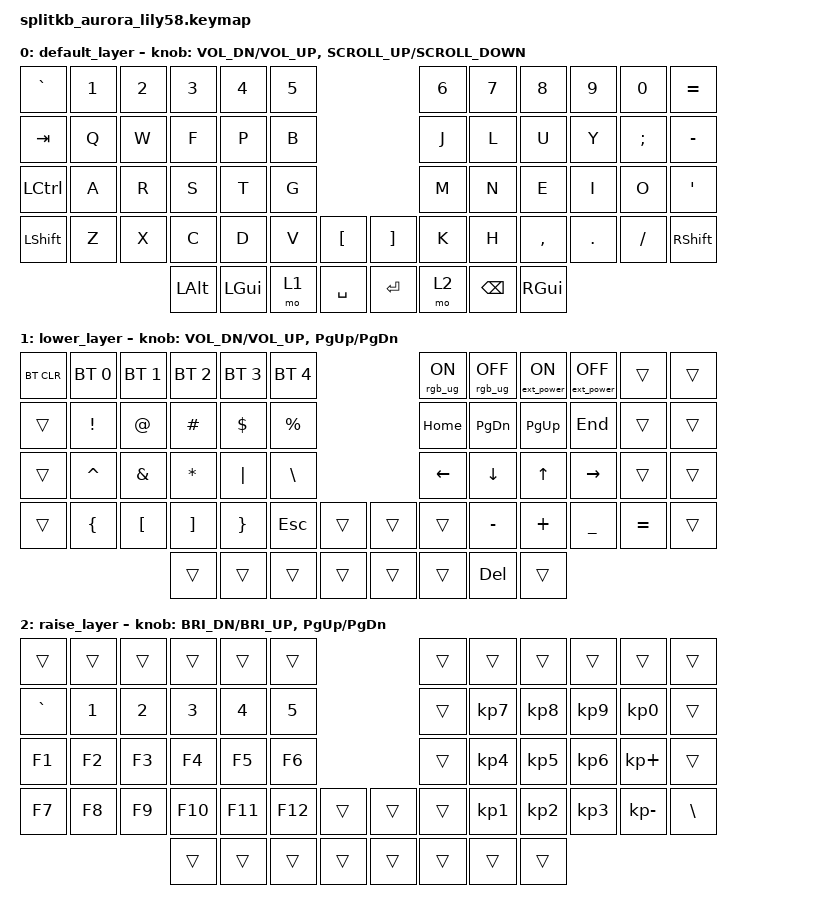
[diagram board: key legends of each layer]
/* * Copyright (c) 2022 The ZMK Contributors
 *
 * SPDX-License-Identifier: MIT
 */

#include <behaviors.dtsi>
#include <dt-bindings/zmk/keys.h>
#include <dt-bindings/zmk/bt.h>
#include <dt-bindings/zmk/ext_power.h>
#include <dt-bindings/zmk/rgb.h>

#include <dt-bindings/led/led.h>

&led_strip {
    chain-length = <66>;
};

&left_encoder { resolution = <1>; };
&right_encoder { resolution = <1>; };

/ {
    keymap {
        compatible = "zmk,keymap";

        default_layer {
// ------------------------------------------------------------------------------------------------------------
// |   `   |  1  |  2  |  3   |  4   |  5   |                   |  6   |  7    |  8    |  9   |   0   |   =   |
// |  TAB  |  Q  |  W  |  F   |  P   |  B   |                   |  J   |  L    |  U    |  Y   |   ;   |   -   |
// |  CTRL |  A  |  R  |  S   |  T   |  G   |                   |  M   |  N    |  E    |  I   |   O   |   '   |
// | SHIFT |  Z  |  X  |  C   |  D   |  V   |   "["  |  |  "]"  |  K   |  H    |  ,    |  .   |   /   | SHIFT |
//                     | LALT | GUI  | LOWER|  SPACE |  | ENTER | RAISE| BSCP  | GUI   |
            bindings = <
&kp GRAVE &kp N1 &kp N2 &kp N3    &kp N4   &kp N5                      &kp N6 &kp N7   &kp N8    &kp N9  &kp N0   &kp EQUAL
&kp TAB   &kp Q  &kp W  &kp F     &kp P    &kp B                       &kp J  &kp L    &kp U     &kp Y   &kp SEMI &kp MINUS
&kp LCTRL &kp A  &kp R  &kp S     &kp T    &kp G                       &kp M  &kp N    &kp E     &kp I   &kp O    &kp SQT
&kp LSHFT &kp Z  &kp X  &kp C     &kp D    &kp V  &kp LBKT   &kp RBKT  &kp K  &kp H    &kp COMMA &kp DOT &kp FSLH &kp RSHFT
                        &kp LALT &kp LGUI &mo 1  &kp SPACE  &kp RET  &mo 2  &kp BSPC &kp RGUI
            >;

            sensor-bindings = <&inc_dec_kp C_VOL_DN C_VOL_UP &inc_dec_kp K_SCROLL_UP K_SCROLL_DOWN>;
        };

        lower_layer {
// ------------------------------------------------------------------------------------------------------------
// | BTCLR | BT1 | BT2 |  BT3 |  BT4 |  BT5 |                   | RGBON| RGBOFF|       |      |       |       |
// |       |  !  |  @  |   #  |  $   |   %  |                   | HOME |  PGUP | PGDN  | END  |       |       |
// |       |  ^  |  &  |   *  | "|"  |   \  |                   |  <-  |  v    |  ^    |  ->  |       |       |
// |       |  {  |  [   |  ]  |   }  |  ESC |        |  |       |      |  -    |  +    |  _   |   =   |       |
//                     |      |      |      |        |  |       |      |  DEL  |       |
            bindings = <
&bt BT_CLR &bt BT_SEL 0     &bt BT_SEL 1      &bt BT_SEL 2      &bt BT_SEL 3 &bt BT_SEL 4                 &rgb_ug RGB_ON    &rgb_ug RGB_OFF &ext_power EXT_POWER_ON_CMD    &ext_power EXT_POWER_OFF_CMD    &trans    &trans
&trans     &kp EXCL         &kp AT            &kp HASH          &kp DOLLAR   &kp PERCENT                  &kp HOME  &kp PG_DN &kp PG_UP     &kp END   &trans     &trans
&trans     &kp CARET        &kp AMPS          &kp STAR          &kp PIPE     &kp BSLH                     &kp LEFT  &kp DOWN  &kp UP        &kp RIGHT &trans     &trans   
&trans     &kp LBRC         &kp LBKT          &kp RBKT          &kp RBRC     &kp ESC          &trans   &trans    &trans    &kp MINUS &kp PLUS      &kp UNDER &kp EQUAL &trans
                                              &trans            &trans       &trans    &trans   &trans    &trans    &kp DEL   &trans
            >;

            sensor-bindings = <&inc_dec_kp C_VOL_DN C_VOL_UP &inc_dec_kp PG_UP PG_DN>;
        };

        raise_layer {
// ------------------------------------------------------------------------------------------------------------
// |       |     |     |      |      |      |                   |      |       |       |      |       |       |
// |   `   |  1  |  2  |  3   |  4   |  5   |                   |      |   7   |   8   |  9   |   0   |       |
// |   F1  |  F2 |  F3 |  F4  |  F5  |  F6  |                   |      |   4   |   5   |  6   |   +   |       |
// |   F7  |  F8 |  F9 |  F10 |  F11 |  F12 |        |  |       |      |   1   |   2   |  3   |   -   |   \   |
//                     |      |      |      |        |  |       |      |       |       |
            bindings = <
&trans    &trans &trans &trans  &trans  &trans                       &trans      &trans    &trans    &trans   &trans        &trans
&kp GRAVE &kp N1 &kp N2 &kp N3  &kp N4  &kp N5                       &trans      &kp KP_N7 &kp KP_N8 &kp KP_N9 &kp KP_N0    &trans
&kp F1    &kp F2 &kp F3 &kp F4  &kp F5  &kp F6                       &trans      &kp KP_N4 &kp KP_N5 &kp KP_N6 &kp KP_PLUS  &trans
&kp F7    &kp F8 &kp F9 &kp F10 &kp F11 &kp F12   &trans   &trans    &trans      &kp KP_N1 &kp KP_N2 &kp KP_N3 &kp KP_MINUS &kp BSLH
                        &trans  &trans  &trans    &trans   &trans    &trans      &trans    &trans
            >;

            sensor-bindings = <&inc_dec_kp C_BRI_DN C_BRI_UP &inc_dec_kp PG_UP PG_DN>;
        };
    };
};

//&kp GRAVE  &kp EXCL         &kp AT            &kp HASH          &kp DOLLAR   &kp PRCNT                    &kp CARET &kp AMPS  &kp STAR         &kp LPAR  &kp RPAR  &kp TILDE
